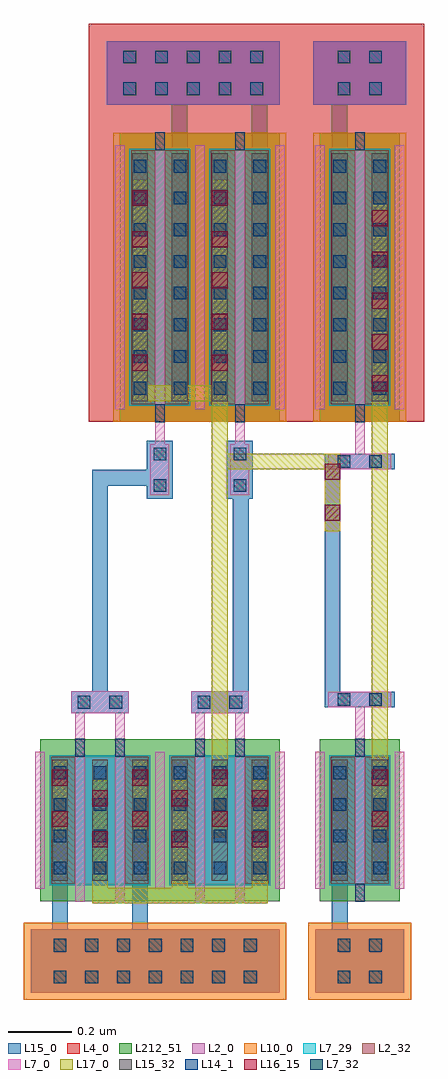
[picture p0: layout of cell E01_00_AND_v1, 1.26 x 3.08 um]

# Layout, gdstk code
from math import pi, radians
import gdstk
lib = gdstk.Library(unit=1e-6, precision=1e-09)
def R(c, l, rs):  # rectangles x0, y0, x1, y1
    for r in rs: c.add(gdstk.rectangle(r[:2], r[2:], *l))
def A(c, l, x, y, w, h, nx, ny, dx, dy):  # array of equal rectangles
    R(c, l, [(x+i*dx, y+j*dy, x+i*dx+w, y+j*dy+h) for i in range(nx) for j in range(ny)])
def P(c, l, *ps):  # polygons
    for p in ps: c.add(gdstk.Polygon(p, *l))
L2_0 = (2, 0)
L2_32 = (2, 32)
L4_0 = (4, 0)
L7_0 = (7, 0)
L7_29 = (7, 29)
L7_32 = (7, 32)
L10_0 = (10, 0)
L14_1 = (14, 1)
L15_0 = (15, 0)
L15_32 = (15, 32)
L16_15 = (16, 15)
L17_0 = (17, 0)
L212_51 = (212, 51)

e01_00_and_v1_srf_nand_s = lib.new_cell('E01_00_AND_v1:SRF_NAND:SRF_Pulldown:SRF_NMOSA:SRF_Source_ViaM1M2:SRF_ViaM1M2')
R(e01_00_and_v1_srf_nand_s, L15_0, [(0,-0.162,0.05,0.082)])
R(e01_00_and_v1_srf_nand_s, L16_15, [(0,-0.13,0.05,-0.08), (0,0,0.05,0.05)])
R(e01_00_and_v1_srf_nand_s, L17_0, [(0,-0.162,0.05,0.082)])

c_e01_00_and_v1_srf_nand_s = lib.new_cell('E01_00_AND_v1:SRF_NAND:SRF_Pulldown:SRF_NMOSA:SRF_Source_ViaM1M2')
c_e01_00_and_v1_srf_nand_s.add(gdstk.Reference(e01_00_and_v1_srf_nand_s, (-0.025,0.04)))

c_e01_00_and_v1_srf_nand_s_ = lib.new_cell('E01_00_AND_v1:SRF_NAND:SRF_Pulldown:SRF_NMOSA:SRF_Drain_ViaM1M2:SRF_ViaM1M2')
R(c_e01_00_and_v1_srf_nand_s_, L15_0, [(0,-0.162,0.05,0.082)])
R(c_e01_00_and_v1_srf_nand_s_, L16_15, [(0,-0.13,0.05,-0.08), (0,0,0.05,0.05)])
R(c_e01_00_and_v1_srf_nand_s_, L17_0, [(0,-0.162,0.05,0.082)])

c_e01_00_and_v1_srf_nand_s__ = lib.new_cell('E01_00_AND_v1:SRF_NAND:SRF_Pulldown:SRF_NMOSA:SRF_Drain_ViaM1M2')
c_e01_00_and_v1_srf_nand_s__.add(gdstk.Reference(c_e01_00_and_v1_srf_nand_s_, (-0.025,0.04)))

c_e01_00_and_v1_srf_nand_s___ = lib.new_cell('E01_00_AND_v1:SRF_NAND:SRF_Pulldown:SRF_NMOSA')
R(c_e01_00_and_v1_srf_nand_s___, L2_0, [(-0.076,0.057,0.232,0.457)])
R(c_e01_00_and_v1_srf_nand_s___, L2_32, [(-0.076,0.057,0,0.457), (0.156,0.057,0.232,0.457)])
R(c_e01_00_and_v1_srf_nand_s___, L7_0, [(0,0,0.03,0.514), (0.126,0,0.156,0.514), (-0.126,0.041,-0.096,0.473), (0.252,0.041,0.282,0.473)])
R(c_e01_00_and_v1_srf_nand_s___, L7_29, [(-0.081,0.052,0.237,0.462)])
R(c_e01_00_and_v1_srf_nand_s___, L7_32, [(0,0.457,0.03,0.514), (0.126,0.457,0.156,0.514)])
A(c_e01_00_and_v1_srf_nand_s___, L14_1, -0.068, 0.087, 0.04, 0.04, 3, 4, 0.126, 0.1)
R(c_e01_00_and_v1_srf_nand_s___, L15_0, [(-0.073,0.066,-0.023,0.448), (-0.073,0.066,-0.023,0.448), (0.053,0.066,0.103,0.448), (0.053,0.066,0.103,0.448), (0.179,0.066,0.229,0.448), (0.179,0.066,0.229,0.448)])
A(c_e01_00_and_v1_srf_nand_s___, L15_32, -0.073, 0.066, 0.05, 0.382, 3, 1, 0.126, 0)
R(c_e01_00_and_v1_srf_nand_s___, L212_51, [(-0.111,0.001,0.267,0.513)])
c_e01_00_and_v1_srf_nand_s___.add(gdstk.Reference(c_e01_00_and_v1_srf_nand_s, (-0.048,0.262)))
c_e01_00_and_v1_srf_nand_s___.add(gdstk.Reference(c_e01_00_and_v1_srf_nand_s, (0.204,0.262)))
c_e01_00_and_v1_srf_nand_s___.add(gdstk.Reference(c_e01_00_and_v1_srf_nand_s__, (0.078,0.326)))

c_e01_00_and_v1_srf_nand_s____ = lib.new_cell('E01_00_AND_v1:SRF_NAND:SRF_Pulldown:SRF_NMOSA_Gate_ViaM0M1:SRF_ViaM0M1')
R(c_e01_00_and_v1_srf_nand_s____, L7_0, [(-0.01,-0.004,0.15,0.044)])
R(c_e01_00_and_v1_srf_nand_s____, L14_1, [(0,0,0.04,0.04), (0.1,0,0.14,0.04)])
R(c_e01_00_and_v1_srf_nand_s____, L15_0, [(-0.021,-0.005,0.161,0.045)])

c_e01_00_and_v1_srf_nand_s_____ = lib.new_cell('E01_00_AND_v1:SRF_NAND:SRF_Pulldown:SRF_NMOSA_Gate_ViaM0M1')
c_e01_00_and_v1_srf_nand_s_____.add(gdstk.Reference(c_e01_00_and_v1_srf_nand_s____, (-0.07,-0.02)))

c_e01_00_and_v1_srf_nand_s______ = lib.new_cell('E01_00_AND_v1:SRF_NAND:SRF_Pulldown:SRF_NMOSB:SRF_Source_ViaM1M2:SRF_ViaM1M2')
R(c_e01_00_and_v1_srf_nand_s______, L15_0, [(0,-0.162,0.05,0.082)])
R(c_e01_00_and_v1_srf_nand_s______, L16_15, [(0,-0.13,0.05,-0.08), (0,0,0.05,0.05)])
R(c_e01_00_and_v1_srf_nand_s______, L17_0, [(0,-0.162,0.05,0.082)])

c_e01_00_and_v1_srf_nand_s_______ = lib.new_cell('E01_00_AND_v1:SRF_NAND:SRF_Pulldown:SRF_NMOSB:SRF_Source_ViaM1M2')
c_e01_00_and_v1_srf_nand_s_______.add(gdstk.Reference(c_e01_00_and_v1_srf_nand_s______, (-0.025,0.04)))

c_e01_00_and_v1_srf_nand_s________ = lib.new_cell('E01_00_AND_v1:SRF_NAND:SRF_Pulldown:SRF_NMOSB:SRF_Drain_ViaM1M2:SRF_ViaM1M2')
R(c_e01_00_and_v1_srf_nand_s________, L15_0, [(0,-0.162,0.05,0.082)])
R(c_e01_00_and_v1_srf_nand_s________, L16_15, [(0,-0.13,0.05,-0.08), (0,0,0.05,0.05)])
R(c_e01_00_and_v1_srf_nand_s________, L17_0, [(0,-0.162,0.05,0.082)])

c_e01_00_and_v1_srf_nand_s_________ = lib.new_cell('E01_00_AND_v1:SRF_NAND:SRF_Pulldown:SRF_NMOSB:SRF_Drain_ViaM1M2')
c_e01_00_and_v1_srf_nand_s_________.add(gdstk.Reference(c_e01_00_and_v1_srf_nand_s________, (-0.025,0.04)))

c_e01_00_and_v1_srf_nand_s__________ = lib.new_cell('E01_00_AND_v1:SRF_NAND:SRF_Pulldown:SRF_NMOSB')
R(c_e01_00_and_v1_srf_nand_s__________, L2_0, [(-0.076,0.057,0.232,0.457)])
R(c_e01_00_and_v1_srf_nand_s__________, L2_32, [(-0.076,0.057,0,0.457), (0.156,0.057,0.232,0.457)])
R(c_e01_00_and_v1_srf_nand_s__________, L7_0, [(0,0,0.03,0.514), (0.126,0,0.156,0.514), (-0.126,0.041,-0.096,0.473), (0.252,0.041,0.282,0.473)])
R(c_e01_00_and_v1_srf_nand_s__________, L7_29, [(-0.081,0.052,0.237,0.462)])
R(c_e01_00_and_v1_srf_nand_s__________, L7_32, [(0,0.457,0.03,0.514), (0.126,0.457,0.156,0.514)])
A(c_e01_00_and_v1_srf_nand_s__________, L14_1, -0.068, 0.087, 0.04, 0.04, 3, 4, 0.126, 0.1)
R(c_e01_00_and_v1_srf_nand_s__________, L15_0, [(-0.073,0.066,-0.023,0.448), (-0.073,0.066,-0.023,0.448), (0.053,0.066,0.103,0.448), (0.053,0.066,0.103,0.448), (0.179,0.066,0.229,0.448), (0.179,0.066,0.229,0.448)])
A(c_e01_00_and_v1_srf_nand_s__________, L15_32, -0.073, 0.066, 0.05, 0.382, 3, 1, 0.126, 0)
R(c_e01_00_and_v1_srf_nand_s__________, L212_51, [(-0.111,0.001,0.267,0.513)])
c_e01_00_and_v1_srf_nand_s__________.add(gdstk.Reference(c_e01_00_and_v1_srf_nand_s_______, (-0.048,0.326)))
c_e01_00_and_v1_srf_nand_s__________.add(gdstk.Reference(c_e01_00_and_v1_srf_nand_s_______, (0.204,0.326)))
c_e01_00_and_v1_srf_nand_s__________.add(gdstk.Reference(c_e01_00_and_v1_srf_nand_s_________, (0.078,0.262)))

c_e01_00_and_v1_srf_nand_s___________ = lib.new_cell('E01_00_AND_v1:SRF_NAND:SRF_Pulldown:SRF_NMOSB_Gate_ViaM0M1:SRF_ViaM0M1')
R(c_e01_00_and_v1_srf_nand_s___________, L7_0, [(-0.01,-0.004,0.15,0.044)])
R(c_e01_00_and_v1_srf_nand_s___________, L14_1, [(0,0,0.04,0.04), (0.1,0,0.14,0.04)])
R(c_e01_00_and_v1_srf_nand_s___________, L15_0, [(-0.021,-0.005,0.161,0.045)])

c_e01_00_and_v1_srf_nand_s____________ = lib.new_cell('E01_00_AND_v1:SRF_NAND:SRF_Pulldown:SRF_NMOSB_Gate_ViaM0M1')
c_e01_00_and_v1_srf_nand_s____________.add(gdstk.Reference(c_e01_00_and_v1_srf_nand_s___________, (-0.07,-0.02)))

c_e01_00_and_v1_srf_nand_s_____________ = lib.new_cell('E01_00_AND_v1:SRF_NAND:SRF_Pulldown')
R(c_e01_00_and_v1_srf_nand_s_____________, L7_0, [(0,0.514,0.03,0.664), (0.126,0.514,0.156,0.664), (0.378,0.514,0.408,0.664), (0.504,0.514,0.534,0.664), (-0.013,0.594,0.169,0.664), (0.365,0.594,0.547,0.664)])
R(c_e01_00_and_v1_srf_nand_s_____________, L15_0, [(-0.013,0.594,0.169,0.664), (0.365,0.594,0.547,0.664)])
R(c_e01_00_and_v1_srf_nand_s_____________, L17_0, [(-0.073,-0.005,0.229,0.045), (0.229,-0.005,0.481,0.045), (0.431,-0.005,0.481,0.14), (-0.073,0.045,-0.023,0.204), (0.179,0.045,0.229,0.204), (0.053,0.384,0.103,0.543), (0.053,0.543,0.103,0.593)])
c_e01_00_and_v1_srf_nand_s_____________.add(gdstk.Reference(c_e01_00_and_v1_srf_nand_s___, (0,0)))
c_e01_00_and_v1_srf_nand_s_____________.add(gdstk.Reference(c_e01_00_and_v1_srf_nand_s_____, (0.078,0.629)))
c_e01_00_and_v1_srf_nand_s_____________.add(gdstk.Reference(c_e01_00_and_v1_srf_nand_s__________, (0.378,0)))
c_e01_00_and_v1_srf_nand_s_____________.add(gdstk.Reference(c_e01_00_and_v1_srf_nand_s____________, (0.456,0.629)))

c_e01_00_and_v1_srf_nand_s______________ = lib.new_cell('E01_00_AND_v1:SRF_NAND:SRF_Pullup:SRF_PMOSA:SRF_Drain_ViaM1M2:SRF_ViaM1M2')
R(c_e01_00_and_v1_srf_nand_s______________, L15_0, [(0,-0.552,0.05,0.082)])
A(c_e01_00_and_v1_srf_nand_s______________, L16_15, 0, -0.52, 0.05, 0.05, 1, 5, 0, 0.13)
R(c_e01_00_and_v1_srf_nand_s______________, L17_0, [(0,-0.552,0.05,0.082)])

c_e01_00_and_v1_srf_nand_s_______________ = lib.new_cell('E01_00_AND_v1:SRF_NAND:SRF_Pullup:SRF_PMOSA:SRF_Drain_ViaM1M2')
c_e01_00_and_v1_srf_nand_s_______________.add(gdstk.Reference(c_e01_00_and_v1_srf_nand_s______________, (-0.025,0.235)))

c_e01_00_and_v1_srf_nand_s________________ = lib.new_cell('E01_00_AND_v1:SRF_NAND:SRF_Pullup:SRF_PMOSA')
R(c_e01_00_and_v1_srf_nand_s________________, L2_0, [(-0.076,0.057,0.106,0.857)])
R(c_e01_00_and_v1_srf_nand_s________________, L2_32, [(-0.076,0.057,0,0.857), (0.03,0.057,0.106,0.857)])
R(c_e01_00_and_v1_srf_nand_s________________, L7_0, [(0,0,0.03,0.914), (-0.126,0.041,-0.096,0.873), (0.126,0.041,0.156,0.873)])
R(c_e01_00_and_v1_srf_nand_s________________, L7_29, [(-0.081,0.052,0.111,0.862)])
R(c_e01_00_and_v1_srf_nand_s________________, L7_32, [(0,0,0.03,0.057), (0,0.857,0.03,0.914)])
R(c_e01_00_and_v1_srf_nand_s________________, L10_0, [(-0.132,0.001,0.162,0.913)])
A(c_e01_00_and_v1_srf_nand_s________________, L14_1, -0.068, 0.087, 0.04, 0.04, 1, 8, 0, 0.1)
A(c_e01_00_and_v1_srf_nand_s________________, L14_1, 0.058, 0.087, 0.04, 0.04, 1, 8, 0, 0.1)
R(c_e01_00_and_v1_srf_nand_s________________, L15_0, [(-0.073,0.066,-0.023,0.848), (-0.073,0.066,-0.023,0.848), (0.053,0.066,0.103,0.848), (0.053,0.066,0.103,0.848)])
R(c_e01_00_and_v1_srf_nand_s________________, L15_32, [(-0.073,0.066,-0.023,0.848), (0.053,0.066,0.103,0.848)])
R(c_e01_00_and_v1_srf_nand_s________________, L212_51, [(-0.111,0.001,0.141,0.913)])
c_e01_00_and_v1_srf_nand_s________________.add(gdstk.Reference(c_e01_00_and_v1_srf_nand_s_______________, (0.078,0.447)))

c_e01_00_and_v1_srf_nand_s_________________ = lib.new_cell('E01_00_AND_v1:SRF_NAND:SRF_Pullup:SRF_PMOSA_Gate_ViaM0M1:SRF_ViaM0M1')
R(c_e01_00_and_v1_srf_nand_s_________________, L7_0, [(-0.01,-0.11,0.05,0.05)])
R(c_e01_00_and_v1_srf_nand_s_________________, L14_1, [(0,-0.1,0.04,-0.06), (0,0,0.04,0.04)])
R(c_e01_00_and_v1_srf_nand_s_________________, L15_0, [(-0.021,-0.121,0.061,0.061)])

c_e01_00_and_v1_srf_nand_s__________________ = lib.new_cell('E01_00_AND_v1:SRF_NAND:SRF_Pullup:SRF_PMOSA_Gate_ViaM0M1')
c_e01_00_and_v1_srf_nand_s__________________.add(gdstk.Reference(c_e01_00_and_v1_srf_nand_s_________________, (-0.02,0.03)))

c_e01_00_and_v1_srf_nand_s___________________ = lib.new_cell('E01_00_AND_v1:SRF_NAND:SRF_Pullup:SRF_PMOSB:SRF_Drain_ViaM1M2:SRF_ViaM1M2')
R(c_e01_00_and_v1_srf_nand_s___________________, L15_0, [(0,-0.552,0.05,0.082)])
A(c_e01_00_and_v1_srf_nand_s___________________, L16_15, 0, -0.52, 0.05, 0.05, 1, 5, 0, 0.13)
R(c_e01_00_and_v1_srf_nand_s___________________, L17_0, [(0,-0.552,0.05,0.082)])

c_e01_00_and_v1_srf_nand_s____________________ = lib.new_cell('E01_00_AND_v1:SRF_NAND:SRF_Pullup:SRF_PMOSB:SRF_Drain_ViaM1M2')
c_e01_00_and_v1_srf_nand_s____________________.add(gdstk.Reference(c_e01_00_and_v1_srf_nand_s___________________, (-0.025,0.235)))

c_e01_00_and_v1_srf_nand_s_____________________ = lib.new_cell('E01_00_AND_v1:SRF_NAND:SRF_Pullup:SRF_PMOSB')
R(c_e01_00_and_v1_srf_nand_s_____________________, L2_0, [(-0.076,0.057,0.106,0.857)])
R(c_e01_00_and_v1_srf_nand_s_____________________, L2_32, [(-0.076,0.057,0,0.857), (0.03,0.057,0.106,0.857)])
R(c_e01_00_and_v1_srf_nand_s_____________________, L7_0, [(0,0,0.03,0.914), (-0.126,0.041,-0.096,0.873), (0.126,0.041,0.156,0.873)])
R(c_e01_00_and_v1_srf_nand_s_____________________, L7_29, [(-0.081,0.052,0.111,0.862)])
R(c_e01_00_and_v1_srf_nand_s_____________________, L7_32, [(0,0,0.03,0.057), (0,0.857,0.03,0.914)])
R(c_e01_00_and_v1_srf_nand_s_____________________, L10_0, [(-0.132,0.001,0.162,0.913)])
A(c_e01_00_and_v1_srf_nand_s_____________________, L14_1, -0.068, 0.087, 0.04, 0.04, 1, 8, 0, 0.1)
A(c_e01_00_and_v1_srf_nand_s_____________________, L14_1, 0.058, 0.087, 0.04, 0.04, 1, 8, 0, 0.1)
R(c_e01_00_and_v1_srf_nand_s_____________________, L15_0, [(-0.073,0.066,-0.023,0.848), (-0.073,0.066,-0.023,0.848), (0.053,0.066,0.103,0.848), (0.053,0.066,0.103,0.848)])
R(c_e01_00_and_v1_srf_nand_s_____________________, L15_32, [(-0.073,0.066,-0.023,0.848), (0.053,0.066,0.103,0.848)])
R(c_e01_00_and_v1_srf_nand_s_____________________, L212_51, [(-0.111,0.001,0.141,0.913)])
c_e01_00_and_v1_srf_nand_s_____________________.add(gdstk.Reference(c_e01_00_and_v1_srf_nand_s____________________, (0.078,0.447)))

c_e01_00_and_v1_srf_nand_s______________________ = lib.new_cell('E01_00_AND_v1:SRF_NAND:SRF_Pullup:SRF_PMOSB_Gate_ViaM0M1:SRF_ViaM0M1')
R(c_e01_00_and_v1_srf_nand_s______________________, L7_0, [(-0.01,-0.11,0.05,0.05)])
R(c_e01_00_and_v1_srf_nand_s______________________, L14_1, [(0,-0.1,0.04,-0.06), (0,0,0.04,0.04)])
R(c_e01_00_and_v1_srf_nand_s______________________, L15_0, [(-0.021,-0.121,0.061,0.061)])

c_e01_00_and_v1_srf_nand_s_______________________ = lib.new_cell('E01_00_AND_v1:SRF_NAND:SRF_Pullup:SRF_PMOSB_Gate_ViaM0M1')
c_e01_00_and_v1_srf_nand_s_______________________.add(gdstk.Reference(c_e01_00_and_v1_srf_nand_s______________________, (-0.02,0.03)))

c_e01_00_and_v1_srf_nand_s________________________ = lib.new_cell('E01_00_AND_v1:SRF_NAND:SRF_Pullup')
R(c_e01_00_and_v1_srf_nand_s________________________, L7_0, [(-0.015,-0.23,0.045,-0.07), (0.237,-0.23,0.297,-0.07), (0,-0.15,0.03,0), (0.252,-0.15,0.282,0)])
R(c_e01_00_and_v1_srf_nand_s________________________, L15_0, [(-0.026,-0.241,0.056,-0.059), (0.226,-0.241,0.308,-0.059)])
R(c_e01_00_and_v1_srf_nand_s________________________, L17_0, [(0.053,0.066,0.103,0.13), (0.053,0.066,0.103,0.116), (0.053,0.066,0.355,0.116), (0.305,0.066,0.355,0.13), (0.305,0.066,0.355,0.116)])
c_e01_00_and_v1_srf_nand_s________________________.add(gdstk.Reference(c_e01_00_and_v1_srf_nand_s________________, (0,0)))
c_e01_00_and_v1_srf_nand_s________________________.add(gdstk.Reference(c_e01_00_and_v1_srf_nand_s__________________, (0.015,-0.15)))
c_e01_00_and_v1_srf_nand_s________________________.add(gdstk.Reference(c_e01_00_and_v1_srf_nand_s_____________________, (0.252,0)))
c_e01_00_and_v1_srf_nand_s________________________.add(gdstk.Reference(c_e01_00_and_v1_srf_nand_s_______________________, (0.267,-0.15)))

c_e01_00_and_v1_srf_nand_s_________________________ = lib.new_cell('E01_00_AND_v1:SRF_NAND:SRF_Pbody:SRF_PbodyContactPhyLen')
R(c_e01_00_and_v1_srf_nand_s_________________________, L2_0, [(-0.073,-0.13,0.713,0.07)])
R(c_e01_00_and_v1_srf_nand_s_________________________, L10_0, [(-0.094,-0.151,0.734,0.091)])
A(c_e01_00_and_v1_srf_nand_s_________________________, L14_1, 0, -0.1, 0.04, 0.04, 7, 2, 0.1, 0.1)
R(c_e01_00_and_v1_srf_nand_s_________________________, L15_0, [(-0.073,-0.13,0.713,0.07)])

c_e01_00_and_v1_srf_nand_s__________________________ = lib.new_cell('E01_00_AND_v1:SRF_NAND:SRF_Pbody')
c_e01_00_and_v1_srf_nand_s__________________________.add(gdstk.Reference(c_e01_00_and_v1_srf_nand_s_________________________, (0,0)))

c_e01_00_and_v1_srf_nand_s___________________________ = lib.new_cell('E01_00_AND_v1:SRF_NAND:SRF_Nbody:SRF_NbodyContactPhyLen')
R(c_e01_00_and_v1_srf_nand_s___________________________, L2_0, [(-0.053,-0.13,0.493,0.07)])
R(c_e01_00_and_v1_srf_nand_s___________________________, L4_0, [(-0.109,-0.186,0.549,0.126)])
A(c_e01_00_and_v1_srf_nand_s___________________________, L14_1, 0, -0.1, 0.04, 0.04, 5, 2, 0.1, 0.1)
R(c_e01_00_and_v1_srf_nand_s___________________________, L15_0, [(-0.053,-0.13,0.493,0.07)])

c_e01_00_and_v1_srf_nand_s____________________________ = lib.new_cell('E01_00_AND_v1:SRF_NAND:SRF_Nbody')
c_e01_00_and_v1_srf_nand_s____________________________.add(gdstk.Reference(c_e01_00_and_v1_srf_nand_s___________________________, (0,0)))

e01_00_and_v1_srf_nand = lib.new_cell('E01_00_AND_v1:SRF_NAND')
R(e01_00_and_v1_srf_nand, L4_0, [(-0.167,1.513,0.491,2.769)])
R(e01_00_and_v1_srf_nand, L15_0, [(0.305,-0.087,0.355,0.066), (0.557,-0.087,0.607,0.066), (-0.013,0.594,0.037,1.453), (0.431,0.594,0.481,1.362), (0.226,1.312,0.481,1.362), (-0.073,2.36,-0.023,2.513), (0.179,2.36,0.229,2.513)])
R(e01_00_and_v1_srf_nand, L17_0, [(0.053,0.543,0.103,1.628)])
e01_00_and_v1_srf_nand.add(gdstk.Reference(c_e01_00_and_v1_srf_nand_s_____________, (0,0)))
e01_00_and_v1_srf_nand.add(gdstk.Reference(c_e01_00_and_v1_srf_nand_s________________________, (0,1.512)))
e01_00_and_v1_srf_nand.add(gdstk.Reference(c_e01_00_and_v1_srf_nand_s__________________________, (-0.038,-0.157)))
e01_00_and_v1_srf_nand.add(gdstk.Reference(c_e01_00_and_v1_srf_nand_s____________________________, (-0.058,2.643)))

e01_00_and_v1_srf_invert = lib.new_cell('E01_00_AND_v1:SRF_Inverter:SRF_NMOS:SRF_Drain_ViaM1M2:SRF_ViaM1M2')
R(e01_00_and_v1_srf_invert, L15_0, [(0,-0.162,0.05,0.082)])
R(e01_00_and_v1_srf_invert, L16_15, [(0,-0.13,0.05,-0.08), (0,0,0.05,0.05)])
R(e01_00_and_v1_srf_invert, L17_0, [(0,-0.162,0.05,0.082)])

c_e01_00_and_v1_srf_invert = lib.new_cell('E01_00_AND_v1:SRF_Inverter:SRF_NMOS:SRF_Drain_ViaM1M2')
c_e01_00_and_v1_srf_invert.add(gdstk.Reference(e01_00_and_v1_srf_invert, (-0.025,0.04)))

c_e01_00_and_v1_srf_invert_ = lib.new_cell('E01_00_AND_v1:SRF_Inverter:SRF_NMOS:SRF_Gate_ViaM0Mx:SRF_ViaM0M1')
R(c_e01_00_and_v1_srf_invert_, L7_0, [(-0.01,-0.004,0.15,0.044)])
R(c_e01_00_and_v1_srf_invert_, L14_1, [(0,0,0.04,0.04), (0.1,0,0.14,0.04)])
R(c_e01_00_and_v1_srf_invert_, L15_0, [(-0.021,-0.005,0.161,0.045)])

c_e01_00_and_v1_srf_invert__ = lib.new_cell('E01_00_AND_v1:SRF_Inverter:SRF_NMOS:SRF_Gate_ViaM0Mx')
c_e01_00_and_v1_srf_invert__.add(gdstk.Reference(c_e01_00_and_v1_srf_invert_, (-0.07,-0.02)))

c_e01_00_and_v1_srf_invert___ = lib.new_cell('E01_00_AND_v1:SRF_Inverter:SRF_NMOS')
R(c_e01_00_and_v1_srf_invert___, L2_0, [(-0.076,0.057,0.106,0.457)])
R(c_e01_00_and_v1_srf_invert___, L2_32, [(-0.076,0.057,0,0.457), (0.03,0.057,0.106,0.457)])
R(c_e01_00_and_v1_srf_invert___, L7_0, [(0,0,0.03,0.514), (-0.126,0.041,-0.096,0.473), (0.126,0.041,0.156,0.473), (0,0.514,0.03,0.614), (-0.085,0.614,0.115,0.662)])
R(c_e01_00_and_v1_srf_invert___, L7_29, [(-0.081,0.052,0.111,0.462)])
R(c_e01_00_and_v1_srf_invert___, L7_32, [(0,0,0.03,0.057), (0,0.457,0.03,0.514)])
A(c_e01_00_and_v1_srf_invert___, L14_1, -0.068, 0.087, 0.04, 0.04, 1, 4, 0, 0.1)
A(c_e01_00_and_v1_srf_invert___, L14_1, 0.058, 0.087, 0.04, 0.04, 1, 4, 0, 0.1)
R(c_e01_00_and_v1_srf_invert___, L15_0, [(-0.073,0.066,-0.023,0.448), (-0.073,0.066,-0.023,0.448), (0.053,0.066,0.103,0.448), (0.053,0.066,0.103,0.448), (-0.096,0.613,0.126,0.663)])
R(c_e01_00_and_v1_srf_invert___, L15_32, [(-0.073,0.066,-0.023,0.448), (0.053,0.066,0.103,0.448)])
R(c_e01_00_and_v1_srf_invert___, L17_0, [(0.053,0.448,0.103,0.498)])
P(c_e01_00_and_v1_srf_invert___, L17_0, [(0.053,0.448),(0.103,0.448),(0.103,0.448),(0.053,0.448)])
R(c_e01_00_and_v1_srf_invert___, L212_51, [(-0.111,0.001,0.141,0.513)])
c_e01_00_and_v1_srf_invert___.add(gdstk.Reference(c_e01_00_and_v1_srf_invert, (0.078,0.326)))
c_e01_00_and_v1_srf_invert___.add(gdstk.Reference(c_e01_00_and_v1_srf_invert__, (0.015,0.638)))

c_e01_00_and_v1_srf_invert____ = lib.new_cell('E01_00_AND_v1:SRF_Inverter:SRF_Pbody:SRF_PbodyContactPhyLen')
R(c_e01_00_and_v1_srf_invert____, L2_0, [(-0.071,-0.13,0.211,0.07)])
R(c_e01_00_and_v1_srf_invert____, L10_0, [(-0.092,-0.151,0.232,0.091)])
R(c_e01_00_and_v1_srf_invert____, L14_1, [(0,-0.1,0.04,-0.06), (0.1,-0.1,0.14,-0.06), (0,0,0.04,0.04), (0.1,0,0.14,0.04)])
R(c_e01_00_and_v1_srf_invert____, L15_0, [(-0.071,-0.13,0.211,0.07)])

c_e01_00_and_v1_srf_invert_____ = lib.new_cell('E01_00_AND_v1:SRF_Inverter:SRF_Pbody')
c_e01_00_and_v1_srf_invert_____.add(gdstk.Reference(c_e01_00_and_v1_srf_invert____, (0,0)))

c_e01_00_and_v1_srf_invert______ = lib.new_cell('E01_00_AND_v1:SRF_Inverter:SRF_PMOS:SRF_Drain_ViaM1M2:SRF_ViaM1M2')
R(c_e01_00_and_v1_srf_invert______, L15_0, [(0,-0.552,0.05,0.082)])
A(c_e01_00_and_v1_srf_invert______, L16_15, 0, -0.52, 0.05, 0.05, 1, 5, 0, 0.13)
R(c_e01_00_and_v1_srf_invert______, L17_0, [(0,-0.552,0.05,0.082)])

c_e01_00_and_v1_srf_invert_______ = lib.new_cell('E01_00_AND_v1:SRF_Inverter:SRF_PMOS:SRF_Drain_ViaM1M2')
c_e01_00_and_v1_srf_invert_______.add(gdstk.Reference(c_e01_00_and_v1_srf_invert______, (-0.025,0.235)))

c_e01_00_and_v1_srf_invert________ = lib.new_cell('E01_00_AND_v1:SRF_Inverter:SRF_PMOS:SRF_Gate_ViaM0Mx:SRF_ViaM0M1')
R(c_e01_00_and_v1_srf_invert________, L7_0, [(-0.01,-0.004,0.15,0.044)])
R(c_e01_00_and_v1_srf_invert________, L14_1, [(0,0,0.04,0.04), (0.1,0,0.14,0.04)])
R(c_e01_00_and_v1_srf_invert________, L15_0, [(-0.021,-0.005,0.161,0.045)])

c_e01_00_and_v1_srf_invert_________ = lib.new_cell('E01_00_AND_v1:SRF_Inverter:SRF_PMOS:SRF_Gate_ViaM0Mx')
c_e01_00_and_v1_srf_invert_________.add(gdstk.Reference(c_e01_00_and_v1_srf_invert________, (-0.07,-0.02)))

c_e01_00_and_v1_srf_invert__________ = lib.new_cell('E01_00_AND_v1:SRF_Inverter:SRF_PMOS')
R(c_e01_00_and_v1_srf_invert__________, L2_0, [(-0.076,0.057,0.106,0.857)])
R(c_e01_00_and_v1_srf_invert__________, L2_32, [(-0.076,0.057,0,0.857), (0.03,0.057,0.106,0.857)])
R(c_e01_00_and_v1_srf_invert__________, L7_0, [(-0.085,-0.148,0.115,-0.1), (0,-0.1,0.03,0), (0,0,0.03,0.914), (-0.126,0.041,-0.096,0.873), (0.126,0.041,0.156,0.873)])
R(c_e01_00_and_v1_srf_invert__________, L7_29, [(-0.081,0.052,0.111,0.862)])
R(c_e01_00_and_v1_srf_invert__________, L7_32, [(0,0,0.03,0.057), (0,0.857,0.03,0.914)])
R(c_e01_00_and_v1_srf_invert__________, L10_0, [(-0.132,0.001,0.162,0.913)])
A(c_e01_00_and_v1_srf_invert__________, L14_1, -0.068, 0.087, 0.04, 0.04, 1, 8, 0, 0.1)
A(c_e01_00_and_v1_srf_invert__________, L14_1, 0.058, 0.087, 0.04, 0.04, 1, 8, 0, 0.1)
R(c_e01_00_and_v1_srf_invert__________, L15_0, [(-0.096,-0.149,0.126,-0.099), (-0.073,0.066,-0.023,0.848), (-0.073,0.066,-0.023,0.848), (0.053,0.066,0.103,0.848), (0.053,0.066,0.103,0.848)])
R(c_e01_00_and_v1_srf_invert__________, L15_32, [(-0.073,0.066,-0.023,0.848), (0.053,0.066,0.103,0.848)])
R(c_e01_00_and_v1_srf_invert__________, L17_0, [(0.053,0.016,0.103,0.066)])
P(c_e01_00_and_v1_srf_invert__________, L17_0, [(0.053,0.066),(0.103,0.066),(0.103,0.066),(0.053,0.066)])
R(c_e01_00_and_v1_srf_invert__________, L212_51, [(-0.111,0.001,0.141,0.913)])
c_e01_00_and_v1_srf_invert__________.add(gdstk.Reference(c_e01_00_and_v1_srf_invert_______, (0.078,0.383)))
c_e01_00_and_v1_srf_invert__________.add(gdstk.Reference(c_e01_00_and_v1_srf_invert_________, (0.015,-0.124)))

c_e01_00_and_v1_srf_invert___________ = lib.new_cell('E01_00_AND_v1:SRF_Inverter:SRF_Nbody:SRF_NbodyContactPhyLen')
R(c_e01_00_and_v1_srf_invert___________, L2_0, [(-0.077,-0.13,0.217,0.07)])
R(c_e01_00_and_v1_srf_invert___________, L4_0, [(-0.133,-0.186,0.273,0.126)])
R(c_e01_00_and_v1_srf_invert___________, L14_1, [(0,-0.1,0.04,-0.06), (0.1,-0.1,0.14,-0.06), (0,0,0.04,0.04), (0.1,0,0.14,0.04)])
R(c_e01_00_and_v1_srf_invert___________, L15_0, [(-0.077,-0.13,0.217,0.07)])

c_e01_00_and_v1_srf_invert____________ = lib.new_cell('E01_00_AND_v1:SRF_Inverter:SRF_Nbody')
c_e01_00_and_v1_srf_invert____________.add(gdstk.Reference(c_e01_00_and_v1_srf_invert___________, (0,0)))

c_e01_00_and_v1_srf_invert_____________ = lib.new_cell('E01_00_AND_v1:SRF_Inverter')
R(c_e01_00_and_v1_srf_invert_____________, L4_0, [(-0.188,1.513,0.218,2.769)])
R(c_e01_00_and_v1_srf_invert_____________, L15_0, [(-0.073,-0.287,-0.023,0.448), (-0.096,0.613,-0.046,1.413), (-0.073,1.578,-0.023,2.713)])
P(c_e01_00_and_v1_srf_invert_____________, L15_0, [(-0.096,0.613),(-0.096,0.613),(-0.096,0.663),(-0.096,0.663)])
R(c_e01_00_and_v1_srf_invert_____________, L17_0, [(0.053,0.448,0.103,1.578)])
P(c_e01_00_and_v1_srf_invert_____________, L17_0, [(0.103,0.448),(0.103,0.448),(0.103,0.498),(0.103,0.498)])
c_e01_00_and_v1_srf_invert_____________.add(gdstk.Reference(c_e01_00_and_v1_srf_invert___, (0,0)))
c_e01_00_and_v1_srf_invert_____________.add(gdstk.Reference(c_e01_00_and_v1_srf_invert_____, (-0.055,-0.157)))
c_e01_00_and_v1_srf_invert_____________.add(gdstk.Reference(c_e01_00_and_v1_srf_invert__________, (0,1.512)))
c_e01_00_and_v1_srf_invert_____________.add(gdstk.Reference(c_e01_00_and_v1_srf_invert____________, (-0.055,2.643)))

e01_00_and_v1_srf_and2in = lib.new_cell('E01_00_AND_v1:SRF_AND2Inv_ViaM1M2:SRF_ViaM1M2')
R(e01_00_and_v1_srf_and2in, L15_0, [(0,-0.162,0.05,0.082)])
R(e01_00_and_v1_srf_and2in, L16_15, [(0,-0.13,0.05,-0.08), (0,0,0.05,0.05)])
R(e01_00_and_v1_srf_and2in, L17_0, [(0,-0.162,0.05,0.082)])

c_e01_00_and_v1_srf_and2in = lib.new_cell('E01_00_AND_v1:SRF_AND2Inv_ViaM1M2')
c_e01_00_and_v1_srf_and2in.add(gdstk.Reference(e01_00_and_v1_srf_and2in, (-0.025,0.04)))

e01_00_and_v1 = lib.new_cell('E01_00_AND_v1')
R(e01_00_and_v1, L17_0, [(-0.103,1.363,0.302,1.413)])
e01_00_and_v1.add(gdstk.Reference(e01_00_and_v1_srf_nand, (0,0), rotation=pi, x_reflection=True))
e01_00_and_v1.add(gdstk.Reference(c_e01_00_and_v1_srf_invert_____________, (0.348,0)))
e01_00_and_v1.add(gdstk.Reference(c_e01_00_and_v1_srf_and2in, (0.277,1.291)))

lib.write_gds('E01_00_AND_v1.gds')
